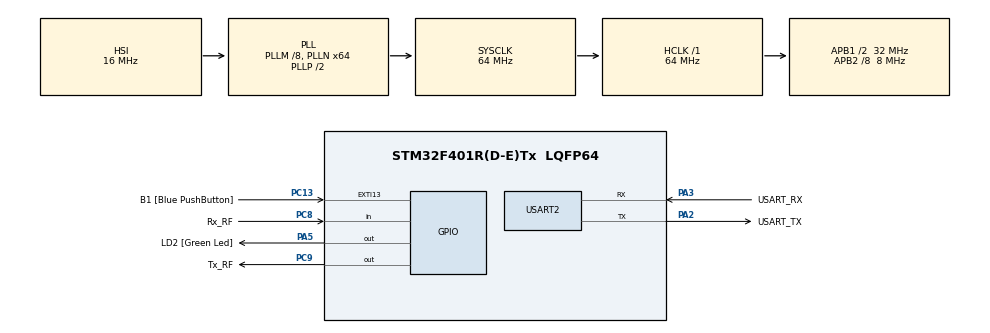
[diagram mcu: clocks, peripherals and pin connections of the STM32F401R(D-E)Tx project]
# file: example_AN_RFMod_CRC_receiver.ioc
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Mcu.Family=STM32F4
Mcu.Name=STM32F401R(D-E)Tx
Mcu.Package=LQFP64
NVIC.PriorityGroup=NVIC_PRIORITYGROUP_0
NVIC.TIM1_UP_TIM10_IRQn=true\:0\:0\:false\:false\:true\:true\:true
PA13.GPIO_Label=TMS
PA13.Mode=Serial_Wire
PA13.Signal=SYS_JTMS-SWDIO
PA14.GPIO_Label=TCK
PA14.Mode=Serial_Wire
PA14.Signal=SYS_JTCK-SWCLK
PA2.GPIO_Label=USART_TX
PA2.GPIO_Mode=GPIO_MODE_AF_PP
PA2.GPIO_PuPd=GPIO_NOPULL
PA2.GPIO_Speed=GPIO_SPEED_FREQ_LOW
PA2.Mode=Asynchronous
PA2.Signal=USART2_TX
PA3.GPIO_Label=USART_RX
PA3.GPIO_Mode=GPIO_MODE_AF_PP
PA3.GPIO_PuPd=GPIO_NOPULL
PA3.GPIO_Speed=GPIO_SPEED_FREQ_LOW
PA3.Mode=Asynchronous
PA3.Signal=USART2_RX
PA5.GPIO_Label=LD2 [Green Led]
PA5.GPIO_Mode=GPIO_MODE_OUTPUT_PP
PA5.GPIO_PuPd=GPIO_NOPULL
PA5.GPIO_Speed=GPIO_SPEED_FREQ_LOW
PA5.Signal=GPIO_Output
PB3.GPIO_Label=SWO
PB3.Signal=SYS_JTDO-SWO
PC13-ANTI_TAMP.GPIO_Label=B1 [Blue PushButton]
PC13-ANTI_TAMP.GPIO_ModeDefaultEXTI=GPIO_MODE_IT_FALLING
PC13-ANTI_TAMP.GPIO_PuPd=GPIO_NOPULL
PC13-ANTI_TAMP.Signal=GPXTI13
PC14-OSC32_IN.Mode=LSE-External-Oscillator
PC14-OSC32_IN.Signal=RCC_OSC32_IN
PC15-OSC32_OUT.Mode=LSE-External-Oscillator
PC15-OSC32_OUT.Signal=RCC_OSC32_OUT
PC8.GPIO_Label=Rx_RF
PC8.Signal=GPIO_Input
PC9.GPIO_Label=Tx_RF
PC9.GPIO_ModeDefaultOutputPP=GPIO_MODE_OUTPUT_OD
PC9.Signal=GPIO_Output
PH0\ -\ OSC_IN.Mode=HSE-External-Clock-Source
PH0\ -\ OSC_IN.Signal=RCC_OSC_IN
PH1\ -\ OSC_OUT.Mode=HSE-External-Clock-Source
PH1\ -\ OSC_OUT.Signal=RCC_OSC_OUT
ProjectManager.HeapSize=0x200
ProjectManager.StackSize=0x400
ProjectManager.TargetToolchain=SW4STM32
RCC.48MHZClocksFreq_Value=18285714.285714287
RCC.AHBFreq_Value=64000000
RCC.APB1CLKDivider=RCC_HCLK_DIV2
RCC.APB1Freq_Value=32000000
RCC.APB1TimFreq_Value=64000000
RCC.APB2CLKDivider=RCC_HCLK_DIV8
RCC.APB2Freq_Value=8000000
RCC.APB2TimFreq_Value=16000000
RCC.CortexFreq_Value=64000000
RCC.HCLKFreq_Value=64000000
RCC.HSE_VALUE=8000000
RCC.HSI_VALUE=16000000
RCC.PLLM=8
RCC.PLLN=64
RCC.PLLQ=7
RCC.SYSCLKFreq_VALUE=64000000
RCC.SYSCLKSource=RCC_SYSCLKSOURCE_PLLCLK
RCC.VCOOutputFreq_Value=128000000
TIM1.Period=999
USART2.VirtualMode=VM_ASYNC
VP_CRC_VS_CRC.Mode=CRC_Activate
VP_TIM1_VS_ClockSourceINT.Mode=Internal
board=NUCLEO-F401RE

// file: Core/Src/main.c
/* USER CODE BEGIN Header */
/**
  ******************************************************************************
  * @file           : main.c
  * @brief          : Main program body
  ******************************************************************************
  * @attention
  *
  * <h2><center>&copy; Copyright (c) 2021 STMicroelectronics.
  * All rights reserved.</center></h2>
  *
  * This software component is licensed by ST under BSD 3-Clause license,
  * the "License"; You may not use this file except in compliance with the
  * License. You may obtain a copy of the License at:
  *                        opensource.org/licenses/BSD-3-Clause
  *
  ******************************************************************************
  */
/* USER CODE END Header */
#include "main.h"

/* USER CODE BEGIN Includes */
#include "RFModSTM32f4x-CRC.h"
/* USER CODE END Includes */

CRC_HandleTypeDef hcrc;

TIM_HandleTypeDef htim1;

UART_HandleTypeDef huart2;

void SystemClock_Config(void);
static void MX_GPIO_Init(void);
static void MX_CRC_Init(void);
static void MX_TIM1_Init(void);
static void MX_USART2_UART_Init(void);

int main(void)
{

  /* MCU Configuration--------------------------------------------------------*/

  /* Reset of all peripherals, Initializes the Flash interface and the Systick. */
  HAL_Init();

  /* Configure the system clock */
  SystemClock_Config();

  /* Initialize all configured peripherals */
  MX_GPIO_Init();
  MX_CRC_Init();
  MX_TIM1_Init();
  MX_USART2_UART_Init();
  /* USER CODE BEGIN 2 */
  HAL_TIM_Base_Start_IT(&htim1);
  Inicia_Mod_RF();
  /* USER CODE END 2 */

  /* Infinite loop */
  while (1)
  {

    /* USER CODE BEGIN 3 */
    char *recebi = "Recebi :";
	char *numrxRuim = "_rxRuim = ";
	char *numrxBom = "_rxBom = ";
	char *NL = "\n\r";		//nova linha no terminal
	char msg[30];
	char texto[30];
	uint8_t msglen = sizeof(msg);

	disponivel();//confere se tem uma mensagem e poe no modo leitura
	if( recb((uint8_t *)msg,&msglen) )//se recebeu com sucesso
	  {
		  //escreve a mensagem recebida
		  strcpy(texto,recebi);
		  HAL_UART_Transmit(&huart2, (uint8_t *)texto, strlen(recebi)+1,1000);
		  HAL_UART_Transmit(&huart2, (uint8_t *)msg, msglen,1000);
		  strcpy(texto,NL);
		  HAL_UART_Transmit(&huart2, (uint8_t *)texto, strlen(texto)+1,1000);

		  //escreve quantas mensagens bem-sucedidas chegaram
		  strcpy(texto,numrxBom);
		  HAL_UART_Transmit(&huart2, (uint8_t *)texto, strlen(texto)+1,1000);
		  texto[0] = rxBom()%10 + '0';
		  texto[1] = '\0';
		  HAL_UART_Transmit(&huart2, (uint8_t *)texto, strlen(texto)+1,1000);
		  strcpy(texto,NL);
		  HAL_UART_Transmit(&huart2, (uint8_t *)texto, strlen(texto)+1,1000);

		  //escreve quantas mensagem vieram com problema (eg tamanho errado, checksum errado)
		  strcpy(texto,numrxRuim);
		  HAL_UART_Transmit(&huart2, (uint8_t *)texto, strlen(texto)+1,1000);
		  texto[0] = rxRuim()%10 + '0';
		  texto[1] = '\0';
		  HAL_UART_Transmit(&huart2, (uint8_t *)texto, strlen(texto)+1,1000);
		  strcpy(texto,NL);
		  HAL_UART_Transmit(&huart2, (uint8_t *)texto, strlen(texto)+1,1000);
	  }

  }
  /* USER CODE END 3 */
}

void SystemClock_Config(void)
{
  RCC_OscInitTypeDef RCC_OscInitStruct = {0};
  RCC_ClkInitTypeDef RCC_ClkInitStruct = {0};

  /** Configure the main internal regulator output voltage
  */
  __HAL_RCC_PWR_CLK_ENABLE();
  __HAL_PWR_VOLTAGESCALING_CONFIG(PWR_REGULATOR_VOLTAGE_SCALE2);
  /** Initializes the RCC Oscillators according to the specified parameters
  * in the RCC_OscInitTypeDef structure.
  */
  RCC_OscInitStruct.OscillatorType = RCC_OSCILLATORTYPE_HSI;
  RCC_OscInitStruct.HSIState = RCC_HSI_ON;
  RCC_OscInitStruct.HSICalibrationValue = RCC_HSICALIBRATION_DEFAULT;
  RCC_OscInitStruct.PLL.PLLState = RCC_PLL_ON;
  RCC_OscInitStruct.PLL.PLLSource = RCC_PLLSOURCE_HSI;
  RCC_OscInitStruct.PLL.PLLM = 8;
  RCC_OscInitStruct.PLL.PLLN = 64;
  RCC_OscInitStruct.PLL.PLLP = RCC_PLLP_DIV2;
  RCC_OscInitStruct.PLL.PLLQ = 7;
  if (HAL_RCC_OscConfig(&RCC_OscInitStruct) != HAL_OK)
  {
    Error_Handler();
  }
  /** Initializes the CPU, AHB and APB buses clocks
  */
  RCC_ClkInitStruct.ClockType = RCC_CLOCKTYPE_HCLK|RCC_CLOCKTYPE_SYSCLK
                              |RCC_CLOCKTYPE_PCLK1|RCC_CLOCKTYPE_PCLK2;
  RCC_ClkInitStruct.SYSCLKSource = RCC_SYSCLKSOURCE_PLLCLK;
  RCC_ClkInitStruct.AHBCLKDivider = RCC_SYSCLK_DIV1;
  RCC_ClkInitStruct.APB1CLKDivider = RCC_HCLK_DIV2;
  RCC_ClkInitStruct.APB2CLKDivider = RCC_HCLK_DIV8;

  if (HAL_RCC_ClockConfig(&RCC_ClkInitStruct, FLASH_LATENCY_2) != HAL_OK)
  {
    Error_Handler();
  }
}

static void MX_CRC_Init(void)
{

  hcrc.Instance = CRC;
  if (HAL_CRC_Init(&hcrc) != HAL_OK)
  {
    Error_Handler();
  }

}

static void MX_TIM1_Init(void)
{

  TIM_ClockConfigTypeDef sClockSourceConfig = {0};
  TIM_MasterConfigTypeDef sMasterConfig = {0};

  htim1.Instance = TIM1;
  htim1.Init.Prescaler = 0;
  htim1.Init.CounterMode = TIM_COUNTERMODE_UP;
  htim1.Init.Period = 999;
  htim1.Init.ClockDivision = TIM_CLOCKDIVISION_DIV1;
  htim1.Init.RepetitionCounter = 0;
  htim1.Init.AutoReloadPreload = TIM_AUTORELOAD_PRELOAD_DISABLE;
  if (HAL_TIM_Base_Init(&htim1) != HAL_OK)
  {
    Error_Handler();
  }
  sClockSourceConfig.ClockSource = TIM_CLOCKSOURCE_INTERNAL;
  if (HAL_TIM_ConfigClockSource(&htim1, &sClockSourceConfig) != HAL_OK)
  {
    Error_Handler();
  }
  sMasterConfig.MasterOutputTrigger = TIM_TRGO_RESET;
  sMasterConfig.MasterSlaveMode = TIM_MASTERSLAVEMODE_DISABLE;
  if (HAL_TIMEx_MasterConfigSynchronization(&htim1, &sMasterConfig) != HAL_OK)
  {
    Error_Handler();
  }

}

static void MX_USART2_UART_Init(void)
{

  huart2.Instance = USART2;
  huart2.Init.BaudRate = 115200;
  huart2.Init.WordLength = UART_WORDLENGTH_8B;
  huart2.Init.StopBits = UART_STOPBITS_1;
  huart2.Init.Parity = UART_PARITY_NONE;
  huart2.Init.Mode = UART_MODE_TX_RX;
  huart2.Init.HwFlowCtl = UART_HWCONTROL_NONE;
  huart2.Init.OverSampling = UART_OVERSAMPLING_16;
  if (HAL_UART_Init(&huart2) != HAL_OK)
  {
    Error_Handler();
  }

}

static void MX_GPIO_Init(void)
{
  GPIO_InitTypeDef GPIO_InitStruct = {0};

  /* GPIO Ports Clock Enable */
  __HAL_RCC_GPIOC_CLK_ENABLE();
  __HAL_RCC_GPIOH_CLK_ENABLE();
  __HAL_RCC_GPIOA_CLK_ENABLE();
  __HAL_RCC_GPIOB_CLK_ENABLE();

  /*Configure GPIO pin Output Level */
  HAL_GPIO_WritePin(LD2_GPIO_Port, LD2_Pin, GPIO_PIN_RESET);

  /*Configure GPIO pin Output Level */
  HAL_GPIO_WritePin(Tx_RF_GPIO_Port, Tx_RF_Pin, GPIO_PIN_RESET);

  /*Configure GPIO pin : B1_Pin */
  GPIO_InitStruct.Pin = B1_Pin;
  GPIO_InitStruct.Mode = GPIO_MODE_IT_FALLING;
  GPIO_InitStruct.Pull = GPIO_NOPULL;
  HAL_GPIO_Init(B1_GPIO_Port, &GPIO_InitStruct);

  /*Configure GPIO pin : LD2_Pin */
  GPIO_InitStruct.Pin = LD2_Pin;
  GPIO_InitStruct.Mode = GPIO_MODE_OUTPUT_PP;
  GPIO_InitStruct.Pull = GPIO_NOPULL;
  GPIO_InitStruct.Speed = GPIO_SPEED_FREQ_LOW;
  HAL_GPIO_Init(LD2_GPIO_Port, &GPIO_InitStruct);

  /*Configure GPIO pin : Rx_RF_Pin */
  GPIO_InitStruct.Pin = Rx_RF_Pin;
  GPIO_InitStruct.Mode = GPIO_MODE_INPUT;
  GPIO_InitStruct.Pull = GPIO_NOPULL;
  HAL_GPIO_Init(Rx_RF_GPIO_Port, &GPIO_InitStruct);

  /*Configure GPIO pin : Tx_RF_Pin */
  GPIO_InitStruct.Pin = Tx_RF_Pin;
  GPIO_InitStruct.Mode = GPIO_MODE_OUTPUT_OD;
  GPIO_InitStruct.Pull = GPIO_NOPULL;
  GPIO_InitStruct.Speed = GPIO_SPEED_FREQ_LOW;
  HAL_GPIO_Init(Tx_RF_GPIO_Port, &GPIO_InitStruct);

}

void Error_Handler(void)
{
  __disable_irq();
  while (1)
  {
  }
}

/************************ (C) COPYRIGHT STMicroelectronics *****END OF FILE****/
